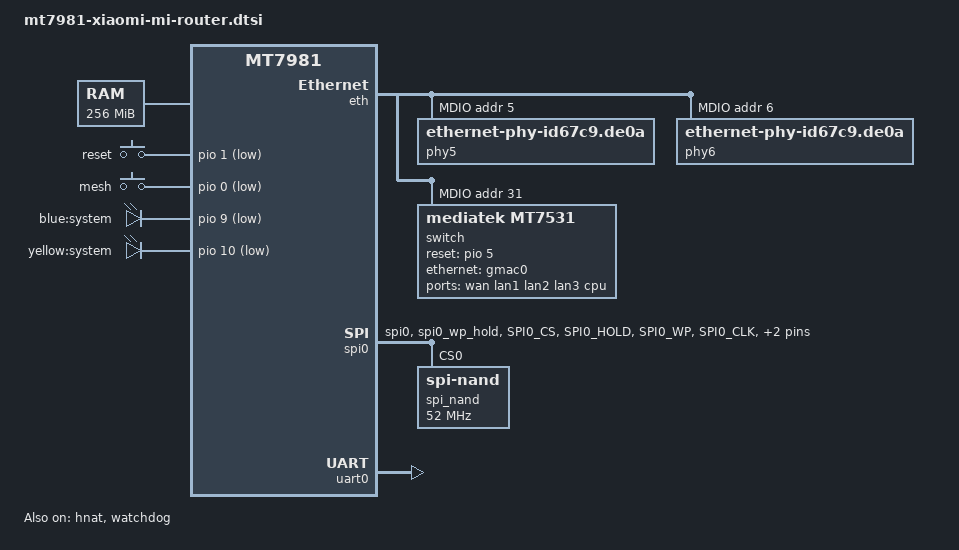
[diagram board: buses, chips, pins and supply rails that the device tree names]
// SPDX-License-Identifier: (GPL-2.0 OR MIT)

/dts-v1/;
#include <dt-bindings/input/input.h>
#include <dt-bindings/gpio/gpio.h>

#include "mt7981.dtsi"

/ {
	aliases {
		serial0 = &uart0;
		led-boot = &led_system_yellow;
		led-failsafe = &led_system_yellow;
		led-running = &led_system_blue;
		led-upgrade = &led_system_yellow;
	};

	chosen {
		bootargs = "console=ttyS0,115200n1 loglevel=8 earlycon=uart8250,mmio32,0x11002000";
	};

	memory {
		reg = <0 0x40000000 0 0x10000000>;
	};

	gpio-keys {
		compatible = "gpio-keys";

		reset {
			label = "reset";
			gpios = <&pio 1 GPIO_ACTIVE_LOW>;
			linux,code = <KEY_RESTART>;
		};

		mesh {
			label = "mesh";
			gpios = <&pio 0 GPIO_ACTIVE_LOW>;
			linux,code = <BTN_9>;
			linux,input-type = <EV_SW>;
		};
	};

	leds: leds {
		compatible = "gpio-leds";

		led_system_blue: system_blue {
			label = "blue:system";
			gpios = <&pio 9 GPIO_ACTIVE_LOW>;
		};

		led_system_yellow: system_yellow {
			label = "yellow:system";
			gpios = <&pio 10 GPIO_ACTIVE_LOW>;
		};
	};

	nmbm_spim_nand: nmbm_spim_nand {
		compatible = "generic,nmbm";

		#address-cells = <1>;
		#size-cells = <1>;

		lower-mtd-device = <&spi_nand>;
		forced-create;
	};
};

&eth {
	status = "okay";

	gmac0: mac@0 {
		compatible = "mediatek,eth-mac";
		reg = <0>;
		phy-mode = "2500base-x";

		fixed-link {
			speed = <2500>;
			full-duplex;
			pause;
		};
	};
	
	gmac1: mac@1 {
		compatible = "mediatek,eth-mac";
		reg = <1>;
		phy-mode = "2500base-x";

		fixed-link {
			speed = <2500>;
			full-duplex;
			pause;
		};
	};


	mdio: mdio-bus {
		#address-cells = <1>;
		#size-cells = <0>;

		phy5: phy@5 {
			compatible = "ethernet-phy-id67c9.de0a";
			reg = <5>;
			phy-mode = "2500base-x";
		}; 
		phy6: phy@6 {
			compatible = "ethernet-phy-id67c9.de0a";
			reg = <6>;
			phy-mode = "2500base-x";
		};

		switch@0 {
			compatible = "mediatek,mt7531";
			reg = <31>;
			reset-gpios = <&pio 5 0>;

			ports {
				#address-cells = <1>;
				#size-cells = <0>;

				port@0 {
					reg = <0>;
					label = "wan";
				};

				port@1 {
					reg = <1>;
					label = "lan1";
				};

				port@2 {
					reg = <2>;
					label = "lan2";
				};

				port@3 {
					reg = <3>;
					label = "lan3";
				};
				
				port@6 {
					reg = <6>;
					label = "cpu";
					ethernet = <&gmac0>;
					phy-mode = "2500base-x";

					fixed-link {
						speed = <2500>;
						full-duplex;
						pause;
					};
				};
			};
		};
	};
};

&hnat {
	mtketh-wan = "eth1";
	mtketh-ppd = "eth1";
	mtketh-lan = "lan";
	mtketh-max-gmac = <2>;
	status = "okay";
};

&spi0 {
	pinctrl-names = "default";
	pinctrl-0 = <&spi0_flash_pins>;
	status = "okay";

	spi_nand: flash@0 {
		#address-cells = <1>;
		#size-cells = <1>;
		compatible = "spi-nand";
		reg = <0>;

		spi-max-frequency = <52000000>;
		spi-tx-bus-width = <4>;
		spi-rx-bus-width = <4>;
	};
};

&nmbm_spim_nand {
		partitions: partitions {
			compatible = "fixed-partitions";
			#address-cells = <1>;
			#size-cells = <1>;

			partition@0 {
				label = "BL2";
				reg = <0x00 0x100000>;
			};

			partition@100000 {
				label = "Nvram";
				reg = <0x100000 0x40000>;
			};

			partition@140000 {
				label = "Bdata";
				reg = <0x140000 0x40000>;
			};

			partition@180000 {
				label = "Factory";
				reg = <0x180000 0x200000>;
			};

			partition@380000 {
				label = "FIP";
				reg = <0x380000 0x200000>;
			};

			partition@580000 {
				label = "crash";
				reg = <0x580000 0x40000>;
			};

			partition@5c0000 {
				label = "crash_log";
				reg = <0x5c0000 0x40000>;
			};
		};
};

&pio {
	spi0_flash_pins: spi0-pins {
		mux {
			function = "spi";
			groups = "spi0", "spi0_wp_hold";
		};

		conf-pu {
			pins = "SPI0_CS", "SPI0_HOLD", "SPI0_WP";
			drive-strength = <MTK_DRIVE_8mA>;
			bias-pull-up = <MTK_PUPD_SET_R1R0_11>;
		};

		conf-pd {
			pins = "SPI0_CLK", "SPI0_MOSI", "SPI0_MISO";
			drive-strength = <MTK_DRIVE_8mA>;
			bias-pull-down = <MTK_PUPD_SET_R1R0_11>;
		};
	};
};

&uart0 {
	status = "okay";
};

&watchdog {
	status = "okay";
};
